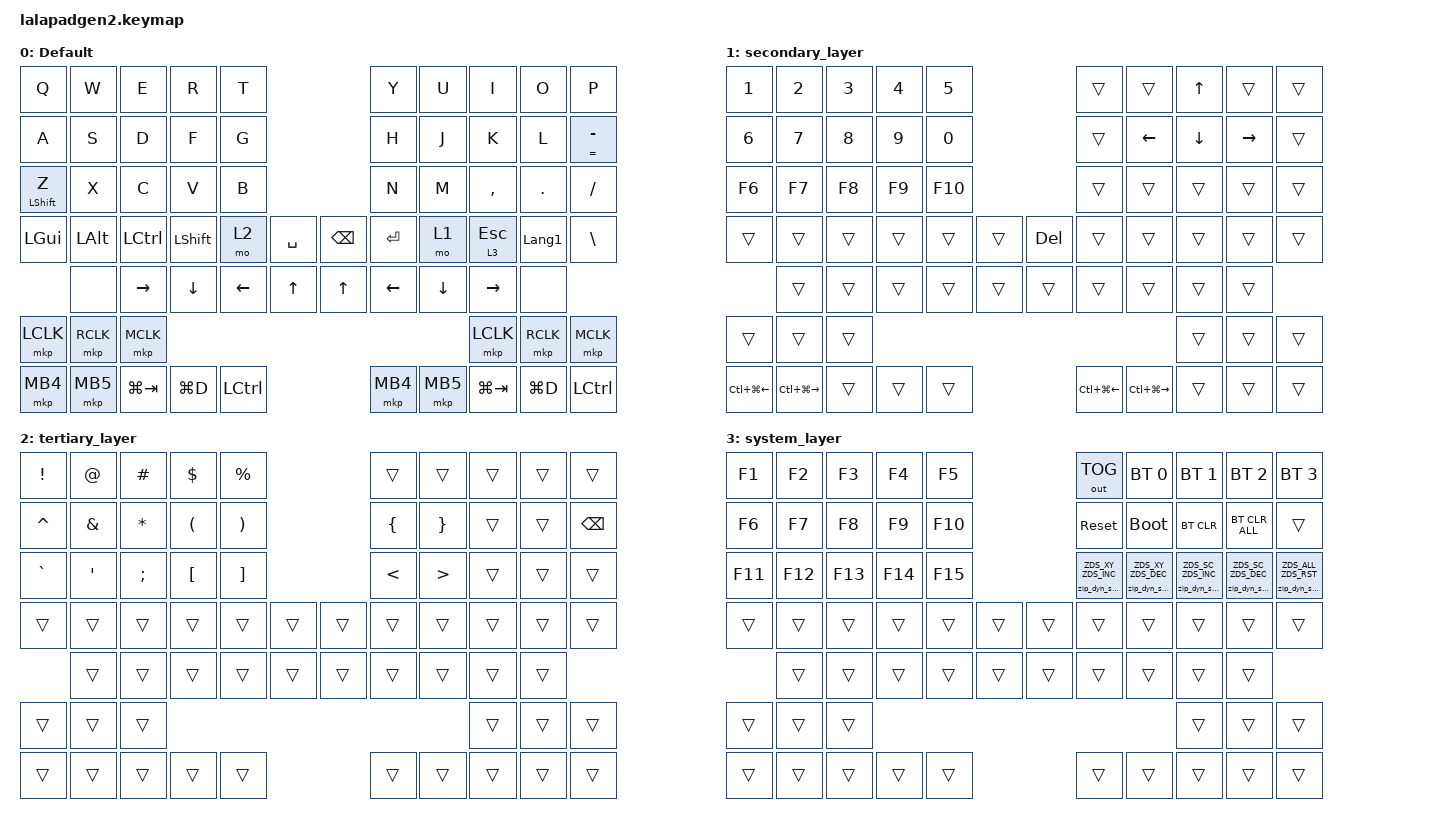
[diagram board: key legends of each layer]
#include <input/processors.dtsi>
#include <dt-bindings/zmk/zip_dynamic_scale.h>
#include <behaviors.dtsi>
#include <dt-bindings/zmk/bt.h>
#include <dt-bindings/zmk/keys.h>
#include <dt-bindings/zmk/outputs.h>
#include <dt-bindings/zmk/pointing.h>

#define DEFAULT_LAYER   0
#define SECONDARY_LAYER 1
#define TERTIARY_LAYER  2
#define SYSTEM_LAYER    3

&mt { quick-tap-ms = <200>; };

&lt { quick-tap-ms = <200>; };

/ {
    behaviors {
        zip_dyn_scale: zip_dyn_scale {
            compatible = "zmk,behavior-zip-dynamic-scale";
            #binding-cells = <2>;
        };

        zip_dyn_scale_set: zip_dyn_scale_set {
            compatible = "zmk,behavior-zip-dynamic-scale-set";
            #binding-cells = <2>;
        };

        mt2: mod_tap2 {
            compatible = "zmk,behavior-hold-tap";
            #binding-cells = <2>;
            flavor = "tap-preferred";
            tapping-term-ms = <200>;
            quick-tap-ms = <200>;
            require-prior-idle-ms = <125>;
            bindings = <&kp>, <&kp>;
        };

        tap_dance_layer_1and2: tap_dance_layer_1and2 {
            compatible = "zmk,behavior-tap-dance";
            label = "td_mo12";
            #binding-cells = <0>;
            bindings = <&mo 1>, <&mo 2>;
        };
    };

    combos {
        compatible = "zmk,combos";

        CONBO_ESC {
            bindings = <&kp ESCAPE>;
            key-positions = <0 1>;
        };

        COMBO_TAB {
            bindings = <&kp TAB>;
            key-positions = <10 11>;
        };

        change_source {
            bindings = <&kp LG(SPACE)>;
            key-positions = <10 34>;
        };

        backquote {
            bindings = <&kp GRAVE>;
            key-positions = <11 12>;
        };

        tilde {
            bindings = <&kp TILDE>;
            key-positions = <12 13>;
        };

        colon {
            bindings = <&kp SEMICOLON>;
            key-positions = <18 19>;
        };
    };

    keymap {
        compatible = "zmk,keymap";

        DEFAULT_LAYER {
            display-name = "Default";
            bindings = <
&kp Q              &kp W         &kp E             &kp R           &kp T                                &kp Y      &kp U     &kp I         &kp O           &kp P
&kp A              &kp S         &kp D             &kp F           &kp G                                &kp H      &kp J     &kp K         &kp L           &mt2 EQUAL MINUS
&mt2 LEFT_SHIFT Z  &kp X         &kp C             &kp V           &kp B                                &kp N      &kp M     &kp COMMA     &kp PERIOD      &kp SLASH
&kp LEFT_GUI       &kp LEFT_ALT  &kp LEFT_CONTROL  &kp LEFT_SHIFT  &mo 2      &kp SPACE  &kp BACKSPACE  &kp ENTER  &mo 1     &lt 3 ESCAPE  &kp LANGUAGE_1  &kp BACKSLASH
                   &none         &kp RIGHT         &kp DOWN        &kp LEFT   &kp UP     &kp UP         &kp LEFT   &kp DOWN  &kp RIGHT     &none
&mkp LCLK          &mkp RCLK     &mkp MCLK                                                                                   &mkp LCLK     &mkp RCLK       &mkp MCLK
&mkp MB4           &mkp MB5      &kp LG(TAB)       &kp LG(D)       &kp LCTRL                            &mkp MB4   &mkp MB5  &kp LG(TAB)   &kp LG(D)       &kp LCTRL
            >;
        };

        SECONDARY_LAYER {
            display-name = "secondary_layer";
            bindings = <
&kp NUMBER_1      &kp NUMBER_2       &kp NUMBER_3  &kp NUMBER_4  &kp N5                    &trans            &trans             &kp UP_ARROW    &trans           &trans
&kp NUMBER_6      &kp N7             &kp N8        &kp N9        &kp N0                    &trans            &kp LEFT_ARROW     &kp DOWN_ARROW  &kp RIGHT_ARROW  &trans
&kp F6            &kp F7             &kp F8        &kp F9        &kp F10                   &trans            &trans             &trans          &trans           &trans
&trans            &trans             &trans        &trans        &trans   &trans  &kp DEL  &trans            &trans             &trans          &trans           &trans
                  &trans             &trans        &trans        &trans   &trans  &trans   &trans            &trans             &trans          &trans
&trans            &trans             &trans                                                                                     &trans          &trans           &trans
&kp LC(LG(LEFT))  &kp LC(LG(RIGHT))  &trans        &trans        &trans                    &kp LC(LG(LEFT))  &kp LC(LG(RIGHT))  &trans          &trans           &trans
            >;
        };

        TERTIARY_LAYER {
            display-name = "tertiary_layer";
            bindings = <
&kp EXCLAMATION  &kp AT_SIGN    &kp HASH      &kp DOLLAR            &kp PERCENT                            &trans          &trans            &trans  &trans  &trans
&kp CARET        &kp AMPERSAND  &kp ASTERISK  &kp LEFT_PARENTHESIS  &kp RIGHT_PARENTHESIS                  &kp LEFT_BRACE  &kp RIGHT_BRACE   &trans  &trans  &kp BACKSPACE
&kp GRAVE        &kp SQT        &kp SEMI      &kp LEFT_BRACKET      &kp RIGHT_BRACKET                      &kp LESS_THAN   &kp GREATER_THAN  &trans  &trans  &trans
&trans           &trans         &trans        &trans                &trans                 &trans  &trans  &trans          &trans            &trans  &trans  &trans
                 &trans         &trans        &trans                &trans                 &trans  &trans  &trans          &trans            &trans  &trans
&trans           &trans         &trans                                                                                                       &trans  &trans  &trans
&trans           &trans         &trans        &trans                &trans                                 &trans          &trans            &trans  &trans  &trans
            >;
        };

        SYSTEM_LAYER {
            display-name = "system_layer";
            bindings = <
&kp F1   &kp F2   &kp F3   &kp F4   &kp F5                   &out OUT_TOG                   &bt BT_SEL 0                   &bt BT_SEL 1                   &bt BT_SEL 2                   &bt BT_SEL 3
&kp F6   &kp F7   &kp F8   &kp F9   &kp F10                  &sys_reset                     &bootloader                    &bt BT_CLR                     &bt BT_CLR_ALL                 &trans
&kp F11  &kp F12  &kp F13  &kp F14  &kp F15                  &zip_dyn_scale ZDS_XY ZDS_INC  &zip_dyn_scale ZDS_XY ZDS_DEC  &zip_dyn_scale ZDS_SC ZDS_INC  &zip_dyn_scale ZDS_SC ZDS_DEC  &zip_dyn_scale ZDS_ALL ZDS_RST
&trans   &trans   &trans   &trans   &trans   &trans  &trans  &trans                         &trans                         &trans                         &trans                         &trans
         &trans   &trans   &trans   &trans   &trans  &trans  &trans                         &trans                         &trans                         &trans
&trans   &trans   &trans                                                                                                   &trans                         &trans                         &trans
&trans   &trans   &trans   &trans   &trans                   &trans                         &trans                         &trans                         &trans                         &trans
            >;
        };
    };

    conditional_layers {
        compatible = "zmk,conditional-layers";

        Cond_Syslayer {
            if-layers = <1 2>;
            then-layer = <3>;
        };
    };
};
